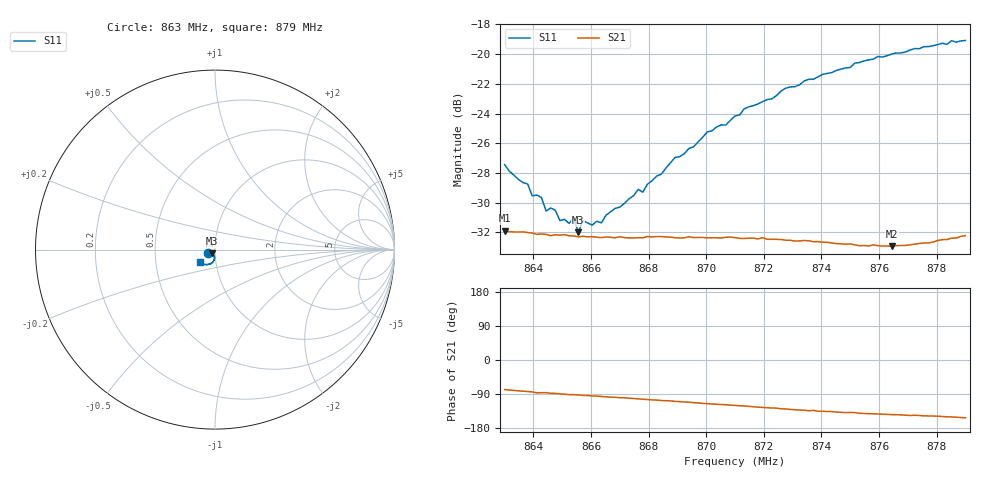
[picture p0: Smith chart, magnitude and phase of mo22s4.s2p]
# HZ S RI R 50
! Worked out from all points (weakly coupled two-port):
!   101 points, 863 MHz to 879 MHz, reference 50 ohm
!   highest |S21| = -31.89 dB at 863 MHz (marker M1); lowest = -32.9 dB at 876.44 MHz (marker M2)
!   lowest |S11| = -32.0 dB at 865.56 MHz (marker M3), VSWR 1.05, Z = 48.4 - j1.92 ohm
!   |S11| at or under -10 dB: start of sweep to end of sweep
!   S12 and S22 are empty: the file has one direction only
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8.63e8  -0.0382 -0.0185  0.00527 -0.0249  0 0  0 0
8.638e8  -0.0327 -0.0164  0.00299 -0.0249  0 0  0 0
8.6396e8  -0.0292 -0.0161  0.00247 -0.0249  0 0  0 0
8.6428e8  -0.0267 -0.0192  0.0016 -0.0248  0 0  0 0
8.6444e8  -0.0244 -0.0169  0.0017 -0.0247  0 0  0 0
8.6476e8  -0.0235 -0.0184  0.000783 -0.0247  0 0  0 0
8.6492e8  -0.0201 -0.0188  0.000312 -0.0246  0 0  0 0
8.6524e8  -0.0185 -0.0195  -0.000584 -0.0245  0 0  0 0
8.654e8  -0.017 -0.0224  -0.000584 -0.0244  0 0  0 0
8.6556e8  -0.0154 -0.0198  -0.000915 -0.0243  0 0  0 0
8.6572e8  -0.015 -0.0231  -0.00147 -0.0243  0 0  0 0
8.6636e8  -0.0115 -0.0245  -0.00267 -0.024  0 0  0 0
8.6652e8  -0.00952 -0.0271  -0.00298 -0.0241  0 0  0 0
8.6844e8  -0.00267 -0.0394  -0.00712 -0.0233  0 0  0 0
8.6892e8  -0.00309 -0.0448  -0.00796 -0.0228  0 0  0 0
8.6956e8  -0.00264 -0.0487  -0.00928 -0.0223  0 0  0 0
8.7004e8  -0.00443 -0.0546  -0.0102 -0.0218  0 0  0 0
8.71e8  -0.00683 -0.0615  -0.012 -0.0209  0 0  0 0
8.7276e8  -0.0194 -0.0743  -0.0149 -0.0183  0 0  0 0
8.7372e8  -0.0227 -0.0791  -0.0159 -0.0171  0 0  0 0
8.7644e8  -0.0557 -0.0831  -0.0183 -0.0132  0 0  0 0
8.79e8  -0.0857 -0.0708  -0.0217 -0.0113  0 0  0 0
